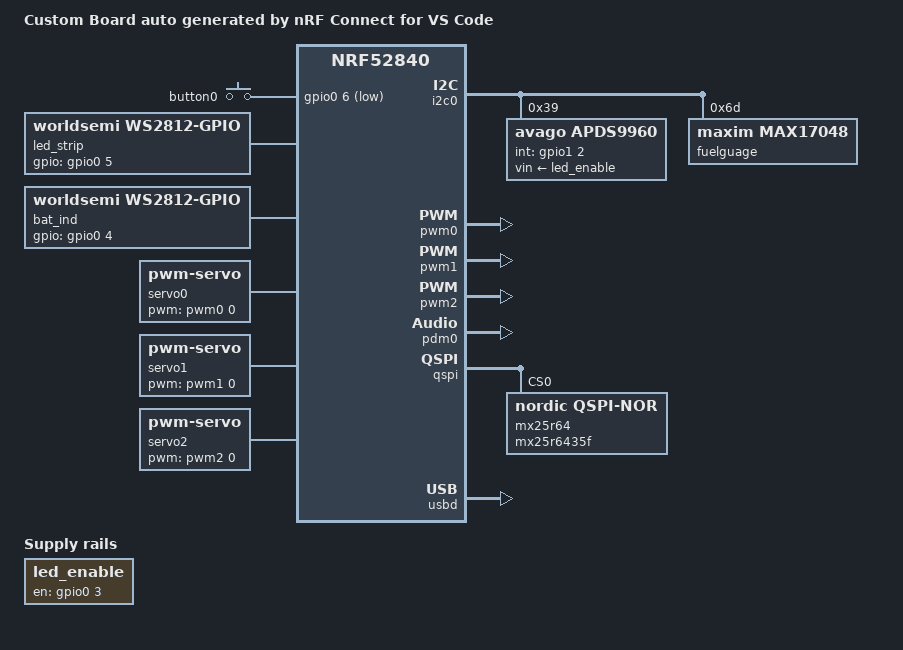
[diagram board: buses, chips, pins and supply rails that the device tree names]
/dts-v1/;
#include <nordic/nrf52840_qiaa.dtsi>

#include <zephyr/dt-bindings/gpio/gpio.h>
#include <zephyr/dt-bindings/led/led.h>

#include "capstonepcb-pinctrl.dtsi"

/ {
	model = "Custom Board auto generated by nRF Connect for VS Code";
	compatible = "batkay,capstonepcb";

	chosen {
		zephyr,sram = &sram0;
		zephyr,flash = &flash0;
		zephyr,code-partition = &slot0_partition;
	};

	cpus {
		// needed for correct ws2812 timing
        cpu@0 {
            clock-frequency = <64000000>;
        };
    };

	led_enable: regulator {
		compatible = "regulator-fixed";
		regulator-name = "load_switch_3v3";

		enable-gpios = <&gpio0 3 GPIO_ACTIVE_HIGH>;

		// enable-active-high;
		
	};

	buttons {
		compatible = "gpio-keys";
		no-disconnect;
		debounce-interval-ms = <0>;
		button0: button_0 {
			gpios = <&gpio0 6 GPIO_ACTIVE_LOW>;
		};
	};

	led_strip: ws2812 {
		compatible = "worldsemi,ws2812-gpio";

		chain-length = <150>; /* arbitrary */
		color-mapping = <LED_COLOR_ID_GREEN
				 LED_COLOR_ID_RED
				 LED_COLOR_ID_BLUE>;

		gpios = <&gpio0 5 GPIO_ACTIVE_HIGH>;

		reset-delay = <3200>;

        delay-t1h = <51>;
        delay-t1l = <29>;
        delay-t0h = <26>;
        delay-t0l = <54>;
	};

	bat_ind: bat_led {
		compatible = "worldsemi,ws2812-gpio";

		chain-length = <1>; /* arbitrary */
		color-mapping = <LED_COLOR_ID_GREEN
				 LED_COLOR_ID_RED
				 LED_COLOR_ID_BLUE>;

		gpios = <&gpio0 4 GPIO_ACTIVE_HIGH>;

		reset-delay = <3200>;

        delay-t1h = <51>;
        delay-t1l = <29>;
        delay-t0h = <26>;
        delay-t0l = <54>;
	};
	
	

	// pwm

	servo0: servo0 {
		compatible = "pwm-servo";
		pwms = <&pwm0 0 PWM_MSEC(20) PWM_POLARITY_NORMAL>;
		min-pulse = <PWM_MSEC(1)>;
		max-pulse = <PWM_MSEC(2)>;
	};
	
	servo1: servo1 {
		compatible = "pwm-servo";
		pwms = <&pwm1 0 PWM_MSEC(20) PWM_POLARITY_NORMAL>;
		min-pulse = <PWM_MSEC(1)>;
		max-pulse = <PWM_MSEC(2)>;
	};

	servo2: servo2 {
		compatible = "pwm-servo";
		pwms = <&pwm2 0 PWM_MSEC(20) PWM_POLARITY_NORMAL>;
		min-pulse = <PWM_MSEC(1)>;
		max-pulse = <PWM_MSEC(2)>;
	};
	

	aliases {
		led-strip = &led_strip;
		bat-ind = &bat_ind;
		led-enable = &led_enable;
	};
};

&flash0 {
	partitions {
		compatible = "fixed-partitions";
		#address-cells = <1>;
		#size-cells = <1>;

		boot_partition: partition@0 {
			label = "mcuboot";
			reg = <0x00000000 DT_SIZE_K(48)>;
		};

		slot0_partition: partition@c000 {
			label = "image-0";
			reg = <0x0000c000 DT_SIZE_K(472)>;
		};

		slot1_partition: partition@82000 {
			label = "image-1";
			reg = <0x00082000 DT_SIZE_K(472)>;
		};

		storage_partition: partition@f8000 {
			label = "storage";
			reg = <0x000f8000 DT_SIZE_K(32)>;
		};
	};
};

&i2c0 {
	
	compatible = "nordic,nrf-twi";
	status = "okay";
	pinctrl-0 = <&i2c0_default>;
	pinctrl-1 = <&i2c0_sleep>;
	pinctrl-names = "default", "sleep";
	
	apds9960: gesturesensor@39 {
		compatible = "avago,apds9960";
		reg = <0x39>;
		int-gpios = <&gpio1 2 GPIO_ACTIVE_HIGH>;
		vin-supply = <&led_enable>;
		zephyr,deferred-init;
	};

	fuelguage: max17048@6D {
		compatible = "maxim,max17048";
		reg = <0x6D>;
	};
};


&pwm0 {
	pinctrl-0 = <&pwm0_default_custom>;
	pinctrl-1 = <&pwm0_csleep>;
	status = "okay";
	pinctrl-names="default", "sleep";
};

&pwm1 {
	pinctrl-0 = <&pwm1_default_custom>;
	pinctrl-1 = <&pwm1_csleep>;
	status = "okay";
	pinctrl-names="default", "sleep";
};
&pwm2 {
	pinctrl-0 = <&pwm2_default_custom>;
	pinctrl-1 = <&pwm2_csleep>;
	status = "okay";
	pinctrl-names="default", "sleep";
};

dmic: &pdm0 {
	status = "okay";
	pinctrl-0 = <&pdm0_default_alt>;
	pinctrl-names = "default";
	clock-source = "PCLK32M_HFXO";

};

// qspi flash
&qspi {
	status = "okay";
	pinctrl-0 = <&qspi_default>;
	pinctrl-1 = <&qspi_sleep>;
	pinctrl-names = "default", "sleep";
	mx25r64: mx25r6435f@0 {
		compatible = "nordic,qspi-nor";
		reg = <0>;
		/* MX25R64 supports only pp and pp4io */
		writeoc = "pp4io";
		/* MX25R64 supports all readoc options */
		readoc = "read4io";
		sck-frequency = <8000000>;
		jedec-id = [c2 28 17];
		sfdp-bfp = [
			e5 20 f1 ff  ff ff ff 03  44 eb 08 6b  08 3b 04 bb
			ee ff ff ff  ff ff 00 ff  ff ff 00 ff  0c 20 0f 52
			10 d8 00 ff  23 72 f5 00  82 ed 04 cc  44 83 68 44
			30 b0 30 b0  f7 c4 d5 5c  00 be 29 ff  f0 d0 ff ff
		];
		size = <67108864>;
		has-dpd;
		t-enter-dpd = <10000>;
		t-exit-dpd = <35000>;
	};
};

zephyr_udc0: &usbd {
	compatible = "nordic,nrf-usbd";
	status = "okay";
};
